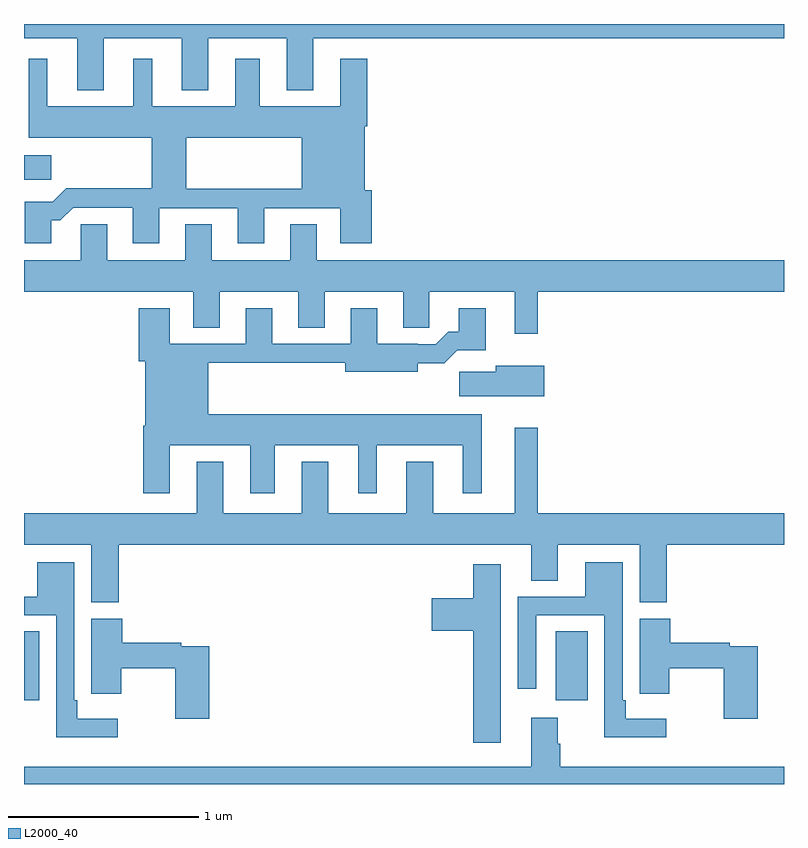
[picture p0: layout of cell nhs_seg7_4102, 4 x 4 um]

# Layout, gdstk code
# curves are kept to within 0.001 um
import gdstk
lib = gdstk.Library(unit=1e-6, precision=1e-09)
def R(c, l, rs):  # rectangles x0, y0, x1, y1
    for r in rs: c.add(gdstk.rectangle(r[:2], r[2:], *l))
def P(c, l, *ps):  # polygons
    for p in ps: c.add(gdstk.Polygon(p, *l))
L2000_40 = (2000, 40)

nhs_seg7_4102 = lib.new_cell('nhs_seg7_4102')
R(nhs_seg7_4102, L2000_40, [(371,1022.442,371.08,1022.804), (373.799,1022.442,373.966,1022.804), (371,1025.179,371.143,1025.308)])
P(nhs_seg7_4102, L2000_40, [(371.419,1025.924),(371.831,1025.924),(371.831,1025.651),(371.971,1025.651),(371.971,1025.924),(372.383,1025.924),(372.383,1025.651),(372.523,1025.651),(372.523,1025.924),(375,1025.924),(375,1026),(371,1026),(371,1025.924),(371.279,1025.924),(371.279,1025.651),(371.419,1025.651)],
  [(371.003,1025.065),(371.003,1024.845),(371.143,1024.845),(371.143,1024.967),(371.192,1024.967),(371.259,1025.034),(371.573,1025.034),(371.573,1024.845),(371.713,1024.845),(371.713,1025.031),(372.125,1025.031),(372.125,1024.845),(372.265,1024.845),(372.265,1025.031),(372.665,1025.031),(372.665,1024.845),(372.83,1024.845),(372.83,1025.124),(372.793,1025.124),(372.793,1025.462),(372.806,1025.462),(372.806,1025.818),(372.665,1025.818),(372.665,1025.566),(372.241,1025.566),(372.241,1025.818),(372.113,1025.818),(372.113,1025.566),(371.674,1025.566),(371.674,1025.818),(371.576,1025.818),(371.576,1025.566),(371.122,1025.566),(371.122,1025.818),(371.024,1025.818),(371.024,1025.402),(371.672,1025.402),(371.672,1025.135),(371.222,1025.135),(371.219,1025.132),(371.855,1025.132),(371.855,1025.402),(372.461,1025.402),(372.461,1025.132),(371.219,1025.132),(371.152,1025.065)],
  [(373.705,1024.592),(375,1024.592),(375,1024.756),(372.541,1024.756),(372.541,1024.946),(372.401,1024.946),(372.401,1024.756),(371.989,1024.756),(371.989,1024.946),(371.849,1024.946),(371.849,1024.756),(371.437,1024.756),(371.437,1024.946),(371.298,1024.946),(371.298,1024.756),(371,1024.756),(371,1024.592),(371.891,1024.592),(371.891,1024.402),(372.031,1024.402),(372.031,1024.592),(372.443,1024.592),(372.443,1024.402),(372.583,1024.402),(372.583,1024.592),(372.995,1024.592),(372.995,1024.402),(373.134,1024.402),(373.134,1024.592),(373.583,1024.592),(373.583,1024.371),(373.705,1024.371)],
  [(371.767,1023.782),(372.191,1023.782),(372.191,1023.531),(372.319,1023.531),(372.319,1023.782),(372.758,1023.782),(372.758,1023.531),(372.856,1023.531),(372.856,1023.782),(373.31,1023.782),(373.31,1023.531),(373.408,1023.531),(373.408,1023.946),(371.971,1023.946),(371.971,1024.216),(372.692,1024.216),(372.692,1024.169),(373.072,1024.169),(373.072,1024.214),(373.211,1024.214),(373.28,1024.283),(373.429,1024.283),(373.429,1024.504),(373.289,1024.504),(373.289,1024.381),(373.234,1024.381),(373.167,1024.314),(373.073,1024.314),(373.073,1024.317),(372.859,1024.317),(372.859,1024.504),(372.719,1024.504),(372.719,1024.317),(372.307,1024.317),(372.307,1024.504),(372.167,1024.504),(372.167,1024.317),(371.767,1024.317),(371.767,1024.504),(371.603,1024.504),(371.603,1024.224),(371.639,1024.224),(371.639,1023.886),(371.627,1023.886),(371.627,1023.531),(371.767,1023.531)],
  [(373.738,1024.201),(373.484,1024.201),(373.484,1024.169),(373.29,1024.169),(373.29,1024.04),(373.738,1024.04)],
  [(373.705,1023.874),(373.583,1023.874),(373.583,1023.424),(373.153,1023.424),(373.153,1023.697),(373.013,1023.697),(373.013,1023.424),(372.601,1023.424),(372.601,1023.697),(372.461,1023.697),(372.461,1023.424),(372.049,1023.424),(372.049,1023.697),(371.909,1023.697),(371.909,1023.424),(371,1023.424),(371,1023.26),(371.354,1023.26),(371.354,1022.956),(371.498,1022.956),(371.498,1023.26),(373.67,1023.26),(373.67,1023.07),(373.81,1023.07),(373.81,1023.26),(374.24,1023.26),(374.24,1022.956),(374.384,1022.956),(374.384,1023.26),(375,1023.26),(375,1023.424),(373.705,1023.424)],
  [(371.494,1022.344),(371.281,1022.344),(371.281,1022.44),(371.265,1022.44),(371.265,1023.166),(371.069,1023.166),(371.069,1022.985),(371,1022.985),(371,1022.889),(371.169,1022.889),(371.169,1022.246),(371.494,1022.246)],
  [(374.38,1022.344),(374.167,1022.344),(374.167,1022.44),(374.151,1022.44),(374.151,1023.166),(373.955,1023.166),(373.955,1022.985),(373.599,1022.985),(373.599,1022.502),(373.695,1022.502),(373.695,1022.889),(374.055,1022.889),(374.055,1022.246),(374.38,1022.246)],
  [(373.51,1023.157),(373.364,1023.157),(373.364,1022.977),(373.146,1022.977),(373.146,1022.807),(373.364,1022.807),(373.364,1022.217),(373.51,1022.217)],
  [(374.861,1022.724),(374.714,1022.724),(374.714,1022.744),(374.402,1022.744),(374.402,1022.871),(374.24,1022.871),(374.24,1022.587),(374.241,1022.587),(374.241,1022.475),(374.397,1022.475),(374.397,1022.608),(374.683,1022.608),(374.683,1022.343),(374.861,1022.343)],
  [(371.975,1022.724),(371.828,1022.724),(371.828,1022.744),(371.516,1022.744),(371.516,1022.871),(371.354,1022.871),(371.354,1022.587),(371.355,1022.587),(371.355,1022.475),(371.511,1022.475),(371.511,1022.608),(371.797,1022.608),(371.797,1022.343),(371.975,1022.343)],
  [(375,1022.092),(373.823,1022.092),(373.823,1022.213),(373.81,1022.213),(373.81,1022.35),(373.67,1022.35),(373.67,1022.092),(371,1022.092),(371,1022),(375,1022)])

lib.write_gds('nhs_seg7_4102.gds')
